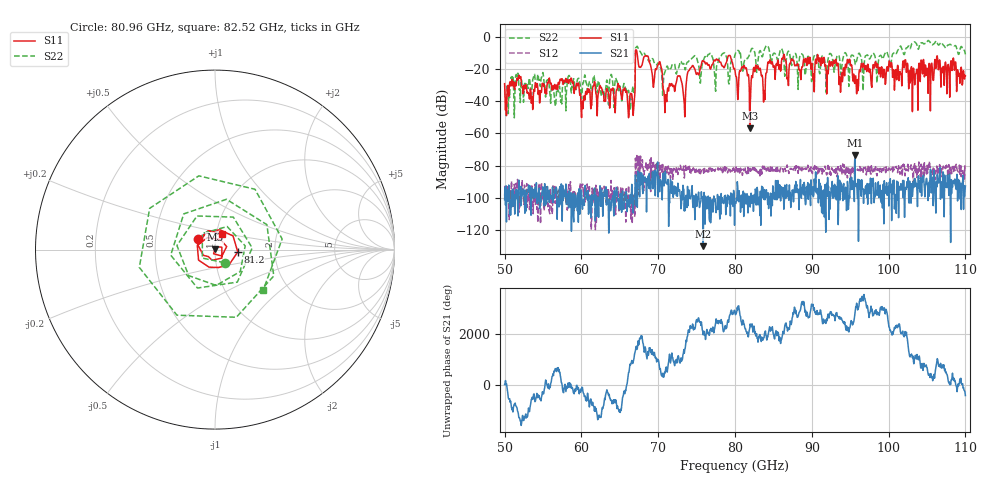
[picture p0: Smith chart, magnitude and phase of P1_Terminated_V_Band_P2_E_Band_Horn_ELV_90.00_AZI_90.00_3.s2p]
! 11/26/2026 10:34:20 AM
! C:\ANRITSUVNA\TEMP\TEMP.S2P
! CHANNEL.1
! TR.MEASUREMENT
! RAW.DATA
# HZ S RI R 50.0
! FREQ.HZ  S11RE  S11IM  S21RE  S21IM  S12RE  S12IM  S22RE  S22IM
!; PortSelection: Port_12
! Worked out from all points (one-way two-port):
!   1001 points, 50 GHz to 110 GHz, reference 50 ohm
!   highest |S21| = -73.48 dB at 95.6 GHz (marker M1); lowest = -130.0 dB at 75.86 GHz (marker M2)
!   lowest |S11| = -57.0 dB at 81.92 GHz (marker M3), VSWR 1.00, Z = 49.9 + j0.115 ohm
!   |S11| at or under -10 dB: start of sweep to 67.04 GHz; 67.24 GHz to end of sweep
!   |S22| runs from -50.4 to -2.4 dB; largest |S21 - S12| = 0.00023
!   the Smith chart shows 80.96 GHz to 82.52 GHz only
!   S11 on the Smith chart (normalised r, x): 80.96 GHz: 0.82, +0.10; 81.2 GHz: 1.29, -0.03; 82.52 GHz: 1.06, +0.19
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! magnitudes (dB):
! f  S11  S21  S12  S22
! 50 GHz  -29.2  -101.1  -98.7  -34.0
! 58.46 GHz  -26.7  -103.9  -100.9  -24.6
! 60.02 GHz  -50.2  -96.3  -94.6  -38.9
! 66.44 GHz  -35.4  -103.3  -113.1  -40.5
! 67.34 GHz  -13.7  -83.3  -75.1  -6.6
! 70.04 GHz  -17.4  -86.5  -83.2  -16.2
! 71.06 GHz  -39.1  -90.5  -82.4  -19.3
! 75.86 GHz  -15.3  -130.0  -82.5  -15.1
! 80 GHz  -21.0  -102.5  -82.7  -11.4
! 80.96 GHz  -19.0  -105.8  -86.0  -20.9
! 81.2 GHz  -17.9  -103.2  -82.5  -15.4
! 81.92 GHz  -57.0  -102.7  -83.2  -10.8
! 82.52 GHz  -20.5  -98.0  -83.2  -9.1
! 83.72 GHz  -40.6  -94.9  -82.6  -9.8
! 84.56 GHz  -14.3  -101.3  -83.4  -11.0
! 90.02 GHz  -16.7  -96.2  -83.9  -27.3
! 93.08 GHz  -14.4  -100.2  -84.8  -16.6
! 93.8 GHz  -28.9  -96.0  -83.3  -23.5
! 94.88 GHz  -14.2  -98.8  -84.3  -28.3
! 95.6 GHz  -29.1  -73.5  -75.0  -15.3
! 100 GHz  -16.3  -105.1  -82.0  -13.3
! 110 GHz  -24.3  -92.7  -81.7  -11.0
